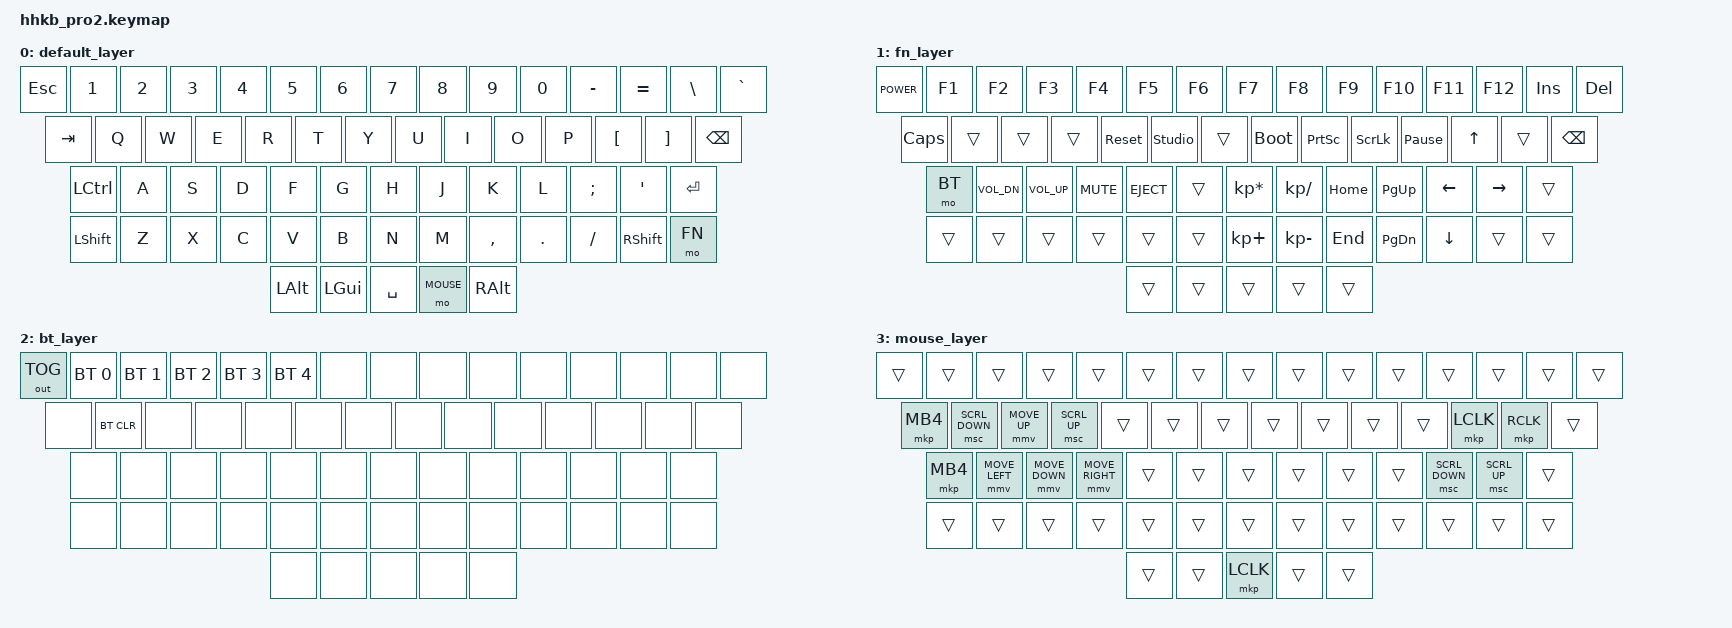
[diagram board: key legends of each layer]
#include <behaviors.dtsi>
#include <dt-bindings/zmk/keys.h>
#include <dt-bindings/zmk/bt.h>
#include <dt-bindings/zmk/outputs.h>

#define ZMK_POINTING_DEFAULT_MOVE_VAL 1500  // default: 600
#define ZMK_POINTING_DEFAULT_SCRL_VAL 20    // default: 10

#include <dt-bindings/zmk/pointing.h>

#define DEFAULT 0
#define FN 1
#define BT 2
#define MOUSE 3

/ {
    keymap {
        compatible = "zmk,keymap";

        default_layer {
            bindings = <
&kp ESC &kp N1 &kp N2 &kp N3 &kp N4 &kp N5 &kp N6 &kp N7 &kp N8 &kp N9 &kp N0 &kp MINUS &kp EQUAL &kp BSLH &kp GRAVE
&kp TAB &kp Q &kp W &kp E &kp R &kp T &kp Y &kp U &kp I &kp O &kp P &kp LBKT &kp RBKT &kp BSPC
&kp LCTRL &kp A &kp S &kp D &kp F &kp G &kp H &kp J &kp K &kp L &kp SEMI &kp SQT &kp ENTER
&kp LSHFT &kp Z &kp X &kp C &kp V &kp B &kp N &kp M &kp COMMA &kp DOT &kp SLASH &kp RSHFT &mo FN
&kp LALT &kp LGUI                 &kp SPACE                   &mo MOUSE &kp RALT
            >;
        };

        fn_layer {
            bindings = <
&kp K_POWER &kp F1 &kp F2 &kp F3 &kp F4 &kp F5 &kp F6 &kp F7 &kp F8 &kp F9 &kp F10 &kp F11 &kp F12 &kp INS &kp DEL
&kp CAPS &trans &trans &trans &sys_reset &studio_unlock &trans &bootloader &kp PSCRN &kp SLCK &kp PAUSE_BREAK &kp UP &trans &kp BSPC
&mo BT &kp C_VOL_DN &kp C_VOL_UP &kp C_MUTE &kp C_EJECT &trans &kp KP_MULTIPLY &kp KP_DIVIDE &kp HOME &kp PG_UP &kp LEFT &kp RIGHT &trans
&trans &trans &trans &trans &trans &trans &kp KP_PLUS &kp KP_MINUS &kp END &kp PG_DN &kp DOWN &trans &trans
&trans &trans               &trans                    &trans &trans
            >;
        };

        bt_layer {
            bindings =<
&out OUT_TOG &bt BT_SEL 0 &bt BT_SEL 1 &bt BT_SEL 2 &bt BT_SEL 3 &bt BT_SEL 4 &none &none &none &none &none &none &none &none &none
&none &bt BT_CLR &none &none &none &none &none &none &none &none &none &none &none &none
&none &none &none &none &none &none &none &none &none &none &none &none &none
&none &none &none &none &none &none &none &none &none &none &none &none &none
&none &none             &none                   &none &none
            >;
        };

        mouse_layer {
            bindings = <
&trans &trans &trans &trans &trans &trans &trans &trans &trans &trans &trans &trans &trans &trans &trans
&mkp MB4  &msc SCRL_DOWN &mmv MOVE_UP &msc SCRL_UP &trans &trans &trans &trans &trans &trans &trans &mkp LCLK &mkp RCLK &trans
&mkp MB4 &mmv MOVE_LEFT &mmv MOVE_DOWN &mmv MOVE_RIGHT &trans &trans &trans &trans &trans &trans &msc SCRL_DOWN &msc SCRL_UP &trans
&trans &trans &trans &trans &trans &trans &trans &trans &trans &trans &trans &trans &trans
&trans &trans               &mkp LCLK                    &trans &trans
            >;
        };

        extra1 {
            status = "reserved";
        };

        extra2 {
            status = "reserved";
        };
    };
};
